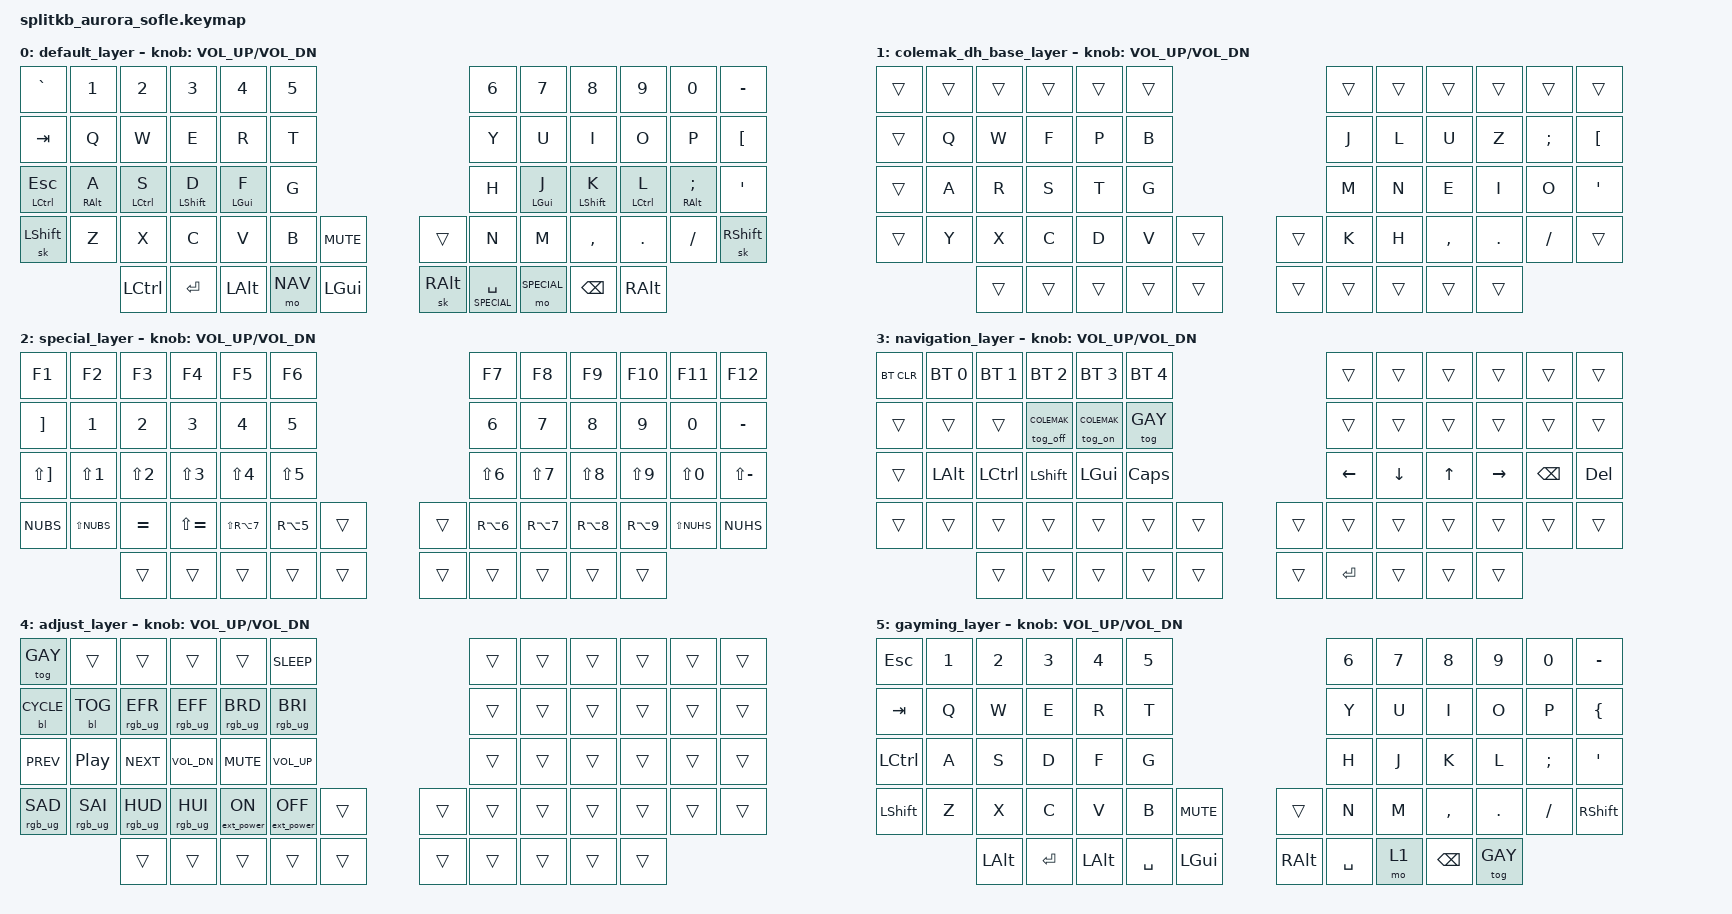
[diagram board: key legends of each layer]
/*
 * Copyright (c) 2023 The ZMK Contributors
 *
 * SPDX-License-Identifier: MIT
 */

#include <behaviors.dtsi>
#include <dt-bindings/zmk/keys.h>
#include <dt-bindings/zmk/bt.h>
#include <dt-bindings/zmk/ext_power.h>
#include <dt-bindings/zmk/backlight.h>
#include <dt-bindings/zmk/rgb.h>

#include "./includes/keypos_60keys.h"
// FIXME: defines are throwing weird stuff and we're not getting an issue with wrong keys...

// Uncomment this block if using RGB
/* &led_strip { */
    // chain-length = <6>; // Uncomment if only using underglow
    /* chain-length = <35>; // Uncomment if using both per-key and underglow LEDs */
    // chain-length = <29>; // Uncomment if using only per-key LEDs.
/* }; */

&sk {
    release-after-ms = <2000>;
    quick-release;
    lazy;
    /delete-property/ ignore-modifiers;
};

#define DEFAULT 0
#define COLEMAK 1
#define SPECIAL 2
#define NAV     3
#define ADJUST  4
#define GAY     5

// TODO: https://zmk.dev/docs/keymaps/behaviors/power need EP_OFF AND EP_ON (EP_TOG) to save power
/ {
    keymap {
        compatible = "zmk,keymap";

        default_layer {

// this is the main layer with a pretty basic layout
// THUMBS are supposed to use exactly two keys each. homing are the layer keys and next to them is lctl and spc
// backspace and enter are on layer two, where enter replaces space on the thumb, and backspace is under the pinky
// however, i do need command (LGUI) a lot for macos, so its close by
// THE THUMB ENTER AND BACKSPACE ARE ONLY PROVIDED FOR WHEN THEY ARE NEEDED OUTSIDE OF TEN FINGER TYPING
// LIKE WHEN ONLY ONE HAND IS FREE
// ------------------------------------------------------------------------------------------------------------
// |   ^   |  1  |  2  |  3   |  4   |  5   |                   |  6   |  7    |  8    |  9   |   0   |   ß   |
// |  TAB  |  Q  |  W  |  E   |  R   |  T   |                   |  Z   |  U    |  I    |  O   |   P   |   ü   |
// |  ESC  |  A  |  S  |  D   |  F   |  G   |                   |  H   |  J    |  K    |  L   |   ö   |   ä   |
// | SHIFT |  Y  |  X  |  C   |  V   |  B   |  MUTE  |  |       |  N   |  M    |  ,    |  .   |   -   | SHIFT |
//               |LALT | ENTER| LALT | L2   |  LGUI  |  | RALT  | SPACE|  L1   | BSPC  | RALT |
            bindings = <
&kp GRAVE &kp N1 &kp N2 &kp N3 &kp N4 &kp N5                            &kp N6 &kp N7 &kp N8 &kp N9 &kp N0 &kp MINUS
&kp TAB &kp Q &kp W &kp E &kp R &kp T                                   &kp Y &kp U &kp I &kp O &kp P &kp LBKT
&mt LCTRL ESC &hml RALT A &hml LCTRL S &hml LSHFT D &hml LGUI F &kp G                                   &kp H &hmr LGUI J &hmr LSHFT K &hmr LCTRL L &hmr RALT SEMI &kp SQT
&sk LSHFT &kp Z &kp X &kp C &kp V &kp B &kp C_MUTE                      &trans &kp N &kp M &kp COMMA &kp DOT &kp FSLH &sk RSHFT
                 &kp LCTRL &kp RET &kp LALT &mo NAV &kp LGUI     &sk RALT &lt SPECIAL SPACE &mo SPECIAL &kp BSPC &kp RALT
            >;

            sensor-bindings = <&inc_dec_kp C_VOL_UP C_VOL_DN>;
        };

        colemak_dh_base_layer {
// reference: https://zmk.dev/docs/keymaps/conditional-layers
// colemak-dh layout based on matrix-like: https://colemakmods.github.io/mod-dh/
// customization: replace semicolon with ö and keep ä and ü where they are. 
// allows for german use with little to no change.
// ------------------------------------------------------------------------------------------------------------
// |   ^   |  1  |  2  |  3   |  4   |  5   |                   |  6   |  7    |  8    |  9   |   0   |   ß   |
// |  TAB  |  Q  |  W  |  F   |  P   |  B   |                   |  J   |  L    |  U    |  Y   |   Ö   |   Ü   |
// |  ESC  |  A  |  R  |  S   |  T   |  G   |                   |  M   |  N    |  E    |  I   |   O   |   Ä   |
// | SHIFT |  Z  |  X  |  C   |  D   |  V   |  MUTE  |  |       |  K   |  H    |  ,    |  .   |   -   | SHIFT |
//               |LALT | ENTER| LALT | L2   |  LGUI  |  | RALT  | SPACE|  L1   | BSPC  | RALT |
            bindings = <
/*&kp GRAVE &kp N1 &kp N2 &kp N3 &kp N4 &kp N5                            &kp N6 &kp N7 &kp N8 &kp N9 &kp N0 &kp MINUS*/
&trans &trans &trans &trans &trans &trans                               &trans &trans &trans &trans &trans &trans 
&trans &kp Q &kp W &kp F &kp P &kp B                                   &kp J &kp L &kp U &kp Z &kp SEMI &kp LBKT
&trans &kp A &kp R &kp S &kp T &kp G                                   &kp M &kp N &kp E &kp I &kp O &kp SQT
&trans &kp Y &kp X &kp C &kp D &kp V &trans                      &trans &kp K &kp H &kp COMMA &kp DOT &kp FSLH &trans
                 /* &kp LCTRL &kp RET &kp LALT &mo 2 &kp LGUI     &sk RALT &kp SPC &mo 1 &kp BSPC &kp RALT */
                 &trans &trans &trans &trans &trans        &trans &trans &trans &trans &trans 
            >;

            sensor-bindings = <&inc_dec_kp C_VOL_UP C_VOL_DN>;
        };

        special_layer {

// SPECIAL CHARACTERS
// on this layer you get the function keys in the top row
// second row is the numbers, as normally, just shifted down one row, with + replacing grave (^)
// third row is the number row with shift modified, with * added to the left (its a shift modified +)
// fourth row is a couple of special keys like so
// <, >, ´, `, backslash, [,        ], |, {, }, ', #
// the fifth row provides one with either another layer or the option key, which is only needed for exotic symbols, as all the others are easily accessible
// the grave key for the symbols ^ and ° is so rarely used, that its replaced on this layer, and only accessible through the first layer
// ------------------------------------------------------------------------------------------------------------
// |  F1   |  F2 |  F3 |  F4  |  F5  |  F6  |                   |  F7  |  F8   |  F9   |  F10 |  F11  |  F12  |
// |   +   |   1 |   2 |   3  |   4  |   5  |                   |   6  |   7   |   8   |   9  |   0   |   ß   |
// |   *   |   ! |   " |   §  |   $  |   %  |                   |   &  |   /   |   (   |   )  |   =   |   ?   |
// |   <   |   > |   ´ |   `  |   \  |   [  |        |  |       |   ]  |   |   |   {   |  }   |   '   |   #   |
//               |     |      |  OPT |      |        |  |       |      |       |       |      |

// &kp NUBS &kp LS(NUBS) &kp EQUAL &kp LS(EQUAL) &kp LS(LA(N7)) &kp LA(N5) &kp KP_MULTIPLY       &trans &kp LA(N6) &kp LA(N7) &kp LA(N8) &kp LA(N9) &kp LS(NUHS) &kp NUHS

            bindings = <
&kp F1 &kp F2 &kp F3 &kp F4 &kp F5 &kp F6                       &kp F7 &kp F8 &kp F9 &kp F10 &kp F11 &kp F12
&kp RBKT &kp N1 &kp N2 &kp N3 &kp N4 &kp N5                    &kp N6 &kp N7 &kp N8 &kp N9 &kp N0 &kp MINUS
&kp LS(RBKT) &kp LS(N1) &kp LS(N2) &kp LS(N3) &kp LS(N4) &kp LS(N5)                    &kp LS(N6) &kp LS(N7) &kp LS(N8) &kp LS(N9) &kp LS(N0) &kp LS(MINUS)
&kp NUBS &kp LS(NUBS) &kp EQUAL &kp LS(EQUAL) &kp LS(RA(N7)) &kp RA(N5) &trans        &trans &kp RA(N6) &kp RA(N7) &kp RA(N8) &kp RA(N9) &kp LS(NUHS) &kp NUHS
                            &trans &trans &trans &trans &trans      &trans &trans &trans &trans &trans
            >;

            sensor-bindings = <&inc_dec_kp C_VOL_UP C_VOL_DN>;
        };

        navigation_layer {
// NAVIGATION
// this layer is for NAVIGATION
// you could press any modifier combination and the arrow keys here for example. added hjkl for convenience
// as the left hand can easily any kind of modifier combination, they are not needed on the right
// most of this is unmodified
// you can "navigate" to colemak-dh here
// ------------------------------------------------------------------------------------------------------------
// | BTCLR | BT1  | BT2 |  BT3 |  BT4 |  BT5 |                   |      |       |       |      |       |       |
// |       |      |     |      | C-DH |      |                   |      |       |       |      |       |       |
// |       | LALT |LCTRL| LSHFT| LGUI | CAPS |                   |  <-  |   v   |  ^    |  ->  | bspce |  del  |
// |       |      |     |      |      |      |        |  |       |      |       |       |      |       |       |
//                |     |      |      |      |        |  |       | RET  |       |       |      |
            bindings = <
&bt BT_CLR &bt BT_SEL 0 &bt BT_SEL 1 &bt BT_SEL 2 &bt BT_SEL 3 &bt BT_SEL 4                 &trans &trans &trans &trans &trans &trans
&trans &trans &trans &tog_off COLEMAK &tog_on COLEMAK &tog GAY                     &trans &trans &trans &trans &trans &trans
&trans &kp LALT &kp LCTRL &kp LSHFT &kp LGUI &kp CAPS                      &kp LEFT &kp DOWN &kp UP &kp RIGHT &kp BSPC &kp DEL
&trans &trans &trans &trans &trans &trans &trans        &trans &trans &trans &trans &trans &trans &trans
              &trans &trans &trans &trans &trans        &trans &kp RET &trans &trans &trans
            >;

            sensor-bindings = <&inc_dec_kp C_VOL_UP C_VOL_DN>;
        };
        adjust_layer {
// reference: https://zmk.dev/docs/keymaps/conditional-layers
// ------------------------------------------------------------------------------------------------------------
// | game  |      |      |      |      | slep |                   |      |       |       |      |       |       |
// |       |      |      |      |      |      |                   |      |       |       |      |       |       |
// | prev  | play | next | vol- | mute | vol+ |                   |      |       |       |      |       |       |
// |       |      |      |      |      |      |        |  |       |      |       |       |      |       |       |
//                |      |      |      |      |        |  |       |      |       |       |      |
            bindings = <
&tog GAY &trans &trans &trans &trans &kp C_SLEEP                                                                 &trans &trans &trans &trans &trans &trans
&bl BL_CYCLE &bl BL_TOG &rgb_ug RGB_EFR &rgb_ug RGB_EFF	&rgb_ug RGB_BRD &rgb_ug RGB_BRI                        &trans &trans &trans &trans &trans &trans
&kp C_PREV &kp C_PLAY_PAUSE &kp C_NEXT &kp C_VOL_DN &kp C_MUTE &kp C_VOL_UP                                            &trans &trans &trans &trans &trans &trans
&rgb_ug RGB_SAD &rgb_ug RGB_SAI &rgb_ug RGB_HUD &rgb_ug RGB_HUI &ext_power EP_ON &ext_power EP_OFF &trans      &trans &trans &trans &trans &trans &trans &trans
                 &trans &trans &trans &trans &trans      &trans &trans &trans &trans &trans
            >;

            sensor-bindings = <&inc_dec_kp C_VOL_UP C_VOL_DN>;
        };
        gayming_layer {
// reference: https://zmk.dev/docs/keymaps/conditional-layers
// ------------------------------------------------------------------------------------------------------------
// |       |     |     |      |      |      |                   |      |       |       |      |       |       |
// |       |     |     |      |      |      |                   |      |       |       |      |       |       |
// |       |     |     |      |      |      |                   |      |       |       |      |       |       |
// |       |     |     |      |      |      |        |  |       |      |       |       |      |       |       |
//               |     |      |      |      |        |  |       |      |       |       |      |
            bindings = <
&kp ESC &kp N1 &kp N2 &kp N3 &kp N4 &kp N5                            &kp N6 &kp N7 &kp N8 &kp N9 &kp N0 &kp MINUS
&kp TAB &kp Q &kp W &kp E &kp R &kp T                                   &kp Y &kp U &kp I &kp O &kp P &kp LBRC
&kp LCTRL &kp A &kp S &kp D &kp F &kp G                                   &kp H &kp J &kp K &kp L &kp SEMI &kp SQT
&kp LSHFT &kp Z &kp X &kp C &kp V &kp B &kp C_MUTE                      &trans &kp N &kp M &kp COMMA &kp DOT &kp FSLH &kp RSHFT
                 &kp LALT &kp RET &kp LALT &kp SPACE &kp LGUI     &kp RALT &kp SPACE &mo 1 &kp BSPC &tog GAY
            >;

            sensor-bindings = <&inc_dec_kp C_VOL_UP C_VOL_DN>;
        };
    };
};

/ {
    conditional_layers {
        compatible = "zmk,conditional-layers";
        tri_layer {
            if-layers = <SPECIAL NAV>;
            then-layer = <ADJUST>;
        };
    };
};
/ {
    behaviors {
        // balanced profile is cool, but i never need to press the modifiers on their own, so they should only fire with other keys!
        // basically i need the idea of balanced (only fire is key is tapped and released) with the tap-unless-interrupted proile
        // https://github.com/infused-kim/zmk-config/blob/chocofi/main/config/includes/behaviours_homerow_mods.dtsi
        hml: home_row_mod_left {
            compatible = "zmk,behavior-hold-tap";
            #binding-cells = <2>;
            flavor = "balanced";
            require-prior-idle-ms = <150>;
            tapping-term-ms = <280>; // this value defines how long a key must be pressed to trigger the "hold" behavior
            quick-tap-ms = <220>; // if you press this key again within quick-tap-ms, it's a guaranteed tap
            bindings = <&kp>, <&kp>;
            hold-trigger-key-positions = < KEYS_R KEYS_T >; // List of keys on the right side of the keyboard
            hold-trigger-on-release;
        };
        hmr: home_row_mod_right {
            compatible = "zmk,behavior-hold-tap";
            #binding-cells = <2>;
            flavor = "balanced";
            require-prior-idle-ms = <150>;
            tapping-term-ms = <280>; // this value defines how long a key must be pressed to trigger the "hold" behavior
            quick-tap-ms = <220>; // if you press this key again within quick-tap-ms, it's a guaranteed tap
            bindings = <&kp>, <&kp>;
            hold-trigger-key-positions = < KEYS_L KEYS_T >; // List of keys on the left side of the keyboard
            hold-trigger-on-release;
        };
        tog_on: toggle_layer_on_only {
            compatible = "zmk,behavior-toggle-layer";
            #binding-cells = <1>;
            display-name = "Toggle Layer On";
            toggle-mode = "on";
            locking;
        };
        tog_off: toggle_layer_off_only {
            compatible = "zmk,behavior-toggle-layer";
            #binding-cells = <1>;
            display-name = "Toggle Layer Off";
            toggle-mode = "off";
            locking;
        };
    };
};
